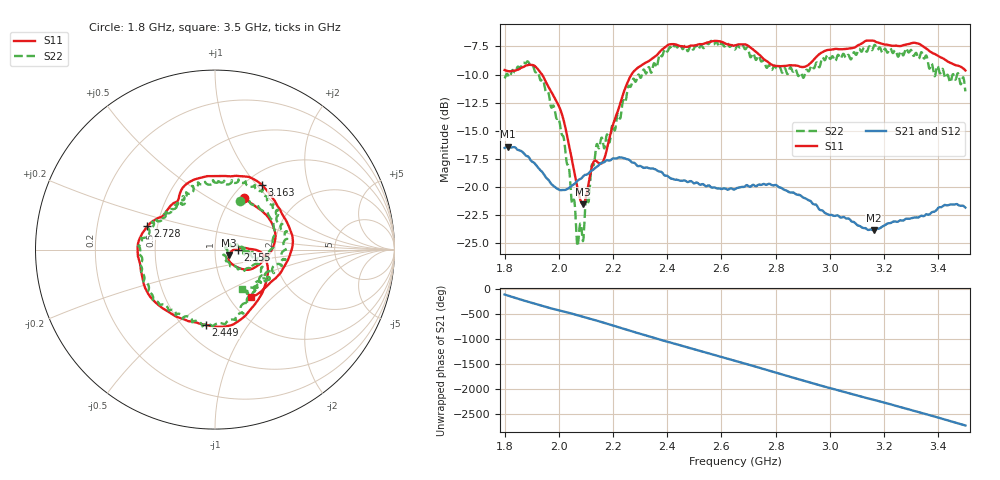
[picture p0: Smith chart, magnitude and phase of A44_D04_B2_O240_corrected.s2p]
! Created with skrf 1.9.0 (http://scikit-rf.org).
# Hz S RI R 50.0
!freq ReS11 ImS11 ReS21 ImS21 ReS12 ImS12 ReS22 ImS22
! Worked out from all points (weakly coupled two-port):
!   1601 points, 1.8 GHz to 3.5 GHz, reference 50 ohm
!   highest |S21| = -16.41 dB at 1.812 GHz (marker M1); lowest = -23.8 dB at 3.161 GHz (marker M2)
!   lowest |S11| = -21.5 dB at 2.09 GHz (marker M3), VSWR 1.18, Z = 58.4 - j3.53 ohm
!   |S11| at or under -10 dB: 1.938 GHz to 2.268 GHz (329.9 MHz wide, 15.7 % of centre)
!   |S22| runs from -25.3 to -7.0 dB; largest |S21 - S12| = 0.0024
!   S11 on the Smith chart (normalised r, x): 1.8 GHz: 1.14, +0.74; 2.155 GHz: 1.29, +0.00; 2.449 GHz: 0.64, -0.66; 2.728 GHz: 0.44, +0.14; 3.163 GHz: 1.18, +1.07; 3.5 GHz: 1.26, -0.74
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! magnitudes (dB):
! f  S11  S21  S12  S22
! 1.8 GHz  -9.6  -16.5  -16.5  -10.3
! 1.812 GHz  -9.7  -16.4  -16.4  -10.0
! 1.884 GHz  -9.2  -17.2  -17.3  -8.8
! 1.942 GHz  -10.2  -18.8  -18.8  -10.5
! 2.011 GHz  -13.5  -20.3  -20.2  -15.4
! 2.068 GHz  -19.9  -19.5  -19.5  -25.1
! 2.084 GHz  -21.4  -19.2  -19.2  -23.7
! 2.09 GHz  -21.5  -19.1  -19.1  -24.7
! 2.126 GHz  -17.9  -18.5  -18.5  -18.0
! 2.155 GHz  -17.9  -17.9  -17.9  -15.8
! 2.188 GHz  -15.6  -17.6  -17.6  -16.0
! 2.263 GHz  -10.2  -17.7  -17.7  -11.1
! 2.367 GHz  -8.1  -18.6  -18.5  -8.6
! 2.449 GHz  -7.5  -19.4  -19.4  -7.3
! 2.65 GHz  -7.4  -20.2  -20.2  -7.8
! 2.728 GHz  -8.0  -19.9  -19.9  -8.7
! 2.934 GHz  -8.9  -21.4  -21.4  -9.2
! 3.161 GHz  -7.0  -23.8  -23.8  -7.5
! 3.163 GHz  -7.0  -23.8  -23.8  -7.4
! 3.217 GHz  -7.4  -23.2  -23.2  -7.9
! 3.343 GHz  -7.5  -22.6  -22.6  -8.3
! 3.5 GHz  -9.6  -21.8  -21.8  -11.5
